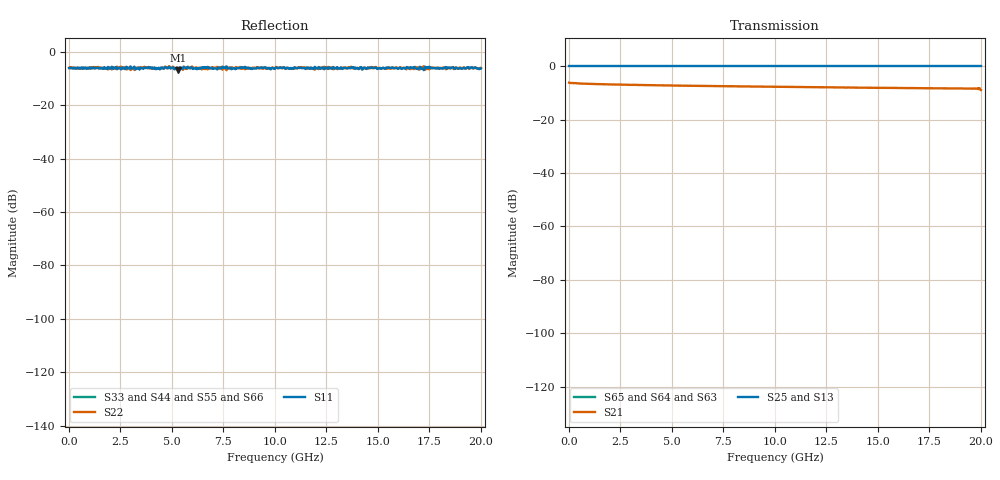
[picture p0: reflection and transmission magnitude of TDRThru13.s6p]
! File created by SignalIntegrity v1.3.3: Signal and Power Integrity Tools
! https://github.com/TeledyneLeCroy/SignalIntegrity
# MHz S MA R 50.0
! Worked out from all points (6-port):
!   1000 points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, 20 MHz to 20 GHz, reference 50 ohm
!   strongest paths, dB at 20 MHz, 5.02 GHz, 10.02 GHz, 15.02 GHz, 20 GHz:
!     S25: 0.0, 0.0, 0.0, 0.0, 0.0
!     S13: 0.0, 0.0, 0.0, 0.0, 0.0
!     S21: -6.2, -7.2, -7.7, -8.1, -8.9
!     S65: -, -, -, -, -
!     S64: -, -, -, -, -
!     S63: -, -, -, -, -
!   lowest |S11| = -6.9 dB at 5.32 GHz (marker M1), VSWR 2.65, Z = 132 + j0.0784 ohm
!   |S11| at or under -10 dB: nowhere
